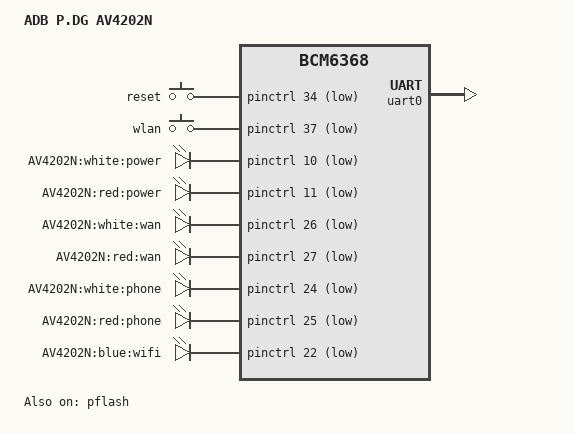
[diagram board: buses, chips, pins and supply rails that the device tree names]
/dts-v1/;

#include "bcm6368.dtsi"

#include <dt-bindings/gpio/gpio.h>
#include <dt-bindings/input/input.h>

/ {
	model = "ADB P.DG AV4202N";
	compatible = "adb,av4202n", "brcm,bcm6368";

	chosen {
		bootargs = "rootfstype=squashfs,jffs2 noinitrd console=ttyS0,115200";
		stdout-path = "serial0:115200n8";
	};

	gpio-keys-polled {
		compatible = "gpio-keys-polled";
		#address-cells = <1>;
		#size-cells = <0>;
		poll-interval = <20>;
		debounce-interval = <60>;

		reset {
			label = "reset";
			gpios = <&pinctrl 34 GPIO_ACTIVE_LOW>;
			linux,code = <KEY_RESTART>;
		};
		wlan {
			label = "wlan";
			gpios = <&pinctrl 37 GPIO_ACTIVE_LOW>;
			linux,code = <KEY_WLAN>;
		};
	};

	gpio-leds {
		compatible = "gpio-leds";

		power_white {
			label = "AV4202N:white:power";
			gpios = <&pinctrl 10 GPIO_ACTIVE_LOW>;
			default-state = "on";
		};
		power_red {
			label = "AV4202N:red:power";
			gpios = <&pinctrl 11 GPIO_ACTIVE_LOW>;
		};
		wan_white {
			label = "AV4202N:white:wan";
			gpios = <&pinctrl 26 GPIO_ACTIVE_LOW>;
		};
		wan_red {
			label = "AV4202N:red:wan";
			gpios = <&pinctrl 27 GPIO_ACTIVE_LOW>;
		};
		phone_white {
			label = "AV4202N:white:phone";
			gpios = <&pinctrl 24 GPIO_ACTIVE_LOW>;
		};
		phone_red {
			label = "AV4202N:red:phone";
			gpios = <&pinctrl 25 GPIO_ACTIVE_LOW>;
		};
		wifi {
			label = "AV4202N:blue:wifi";
			gpios = <&pinctrl 22 GPIO_ACTIVE_LOW>;
		};
	};
};

&pflash {
	status = "ok";

	linux,part-probe = "bcm63xxpart";

	partitions {
		compatible = "fixed-partitions";
		#address-cells = <1>;
		#size-cells = <1>;

		cfe@0 {
			label = "CFE";
			reg = <0x000000 0x020000>;
			read-only;
		};

		linux@20000 {
			label = "linux";
			reg = <0x020000 0xfc0000>;
			compatible = "brcm,bcm963xx-imagetag";
		};

		nvram@fe0000 {
			label = "nvram";
			reg = <0xfe0000 0x020000>;
		};
	};
};

&uart0 {
	status = "ok";
};
